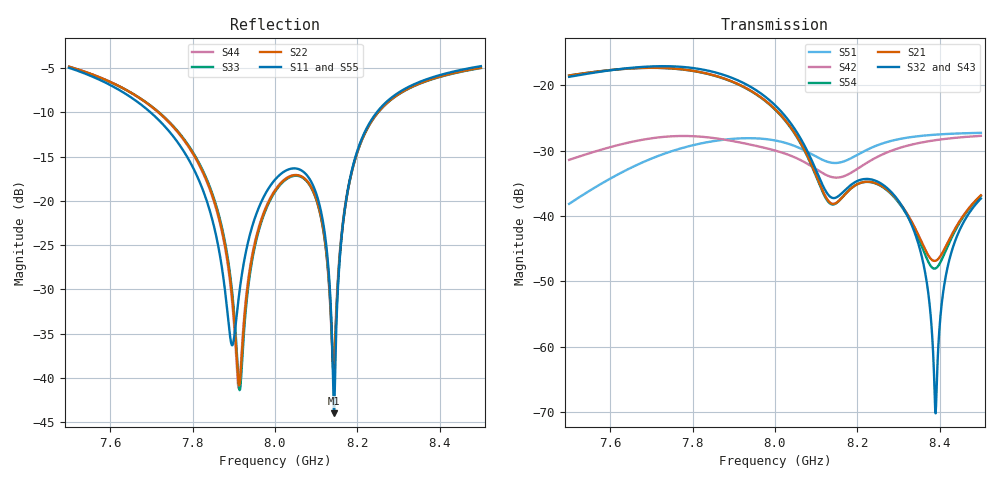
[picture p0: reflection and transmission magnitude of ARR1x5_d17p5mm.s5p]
! Touchstone file exported from HFSS 2025.1.0
!  File:  C:/Users/user/Documents/Ansoft/TFG_UWB-MIMO-Array.aedt
!  Generated:  09:03:15 PM Nov 21, 2026
!  Design:  ARR1x5_US3_PS4_2_1_dparam
!  Project:  TFG_UWB-MIMO-Array
!  Setup:  Setup_ch9
!  Solution:  Sweep_7p5_8p5
! Variables:
!  arr_d = 17.5mm
!  board_m = 13mm
!  board_x = 96mm
!  board_y = 26mm
!  cu_t = 0.035mm
!  line_w = 3.92mm
!  pad_xy = 22mm
!  pad_zn = 25mm
!  pad_zp = 33mm
!  par_L = 7.46mm
!  par_W = 10mm
!  par_yc = 0.75mm
!  par_z = 1.035mm
!  patch_L = 6.222mm
!  patch_W = 11.421266mm
!  sub_h = 2.07mm
!  tr_l = 6.6mm
!  tr_w = 0.8mm
!  u_Lu = 2.65mm
!  u_Wu = 4.4mm
!  u_t = 0.8mm
!  u_y0 = -0.7mm
# GHz S MA R 50.000000
! Terminal data exported
! Port[1] = P1
! Port[2] = P2
! Port[3] = P3
! Port[4] = P4
! Port[5] = P5
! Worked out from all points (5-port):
!   1001 points, 7.5 GHz to 8.5 GHz, reference 50 ohm
!   strongest paths, dB at 7.5 GHz, 7.75 GHz, 8 GHz, 8.25 GHz, 8.5 GHz:
!     S32: -18.7, -17.1, -23.0, -34.8, -37.3
!     S43: -18.7, -17.1, -23.1, -34.8, -37.3
!     S21: -18.5, -17.4, -23.6, -35.1, -36.8
!     S54: -18.5, -17.4, -23.7, -35.2, -36.9
!     S42: -31.4, -27.8, -30.0, -30.9, -27.7
!     S51: -38.1, -30.1, -28.4, -29.1, -27.3
!   lowest |S11| = -44.0 dB at 8.143 GHz (marker M1), VSWR 1.01, Z = 50.4 + j0.524 ohm
!   |S11| at or under -10 dB: 7.698 GHz to 8.247 GHz (549.6 MHz wide, 6.89 % of centre)
